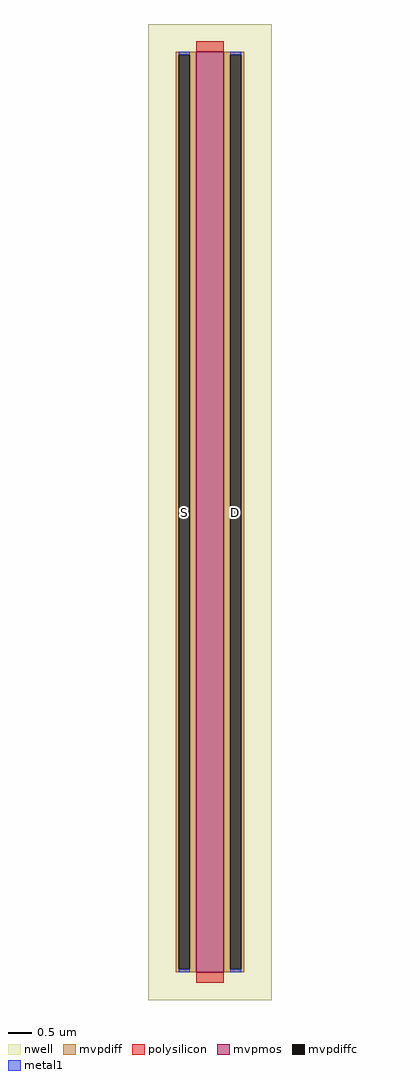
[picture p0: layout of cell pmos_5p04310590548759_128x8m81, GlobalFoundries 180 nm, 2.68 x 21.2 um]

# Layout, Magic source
magic
tech gf180mcuA
magscale 1 10
<< nwell >>
rect -208 -120 328 4120
<< mvpmos >>
rect 0 0 120 4000
<< mvpdiff >>
rect -88 3987 0 4000
rect -88 13 -75 3987
rect -29 13 0 3987
rect -88 0 0 13
rect 120 3987 208 4000
rect 120 13 149 3987
rect 195 13 208 3987
rect 120 0 208 13
<< mvpdiffc >>
rect -75 13 -29 3987
rect 149 13 195 3987
<< polysilicon >>
rect 0 4000 120 4044
rect 0 -44 120 0
<< metal1 >>
rect -75 3987 -29 4000
rect -75 0 -29 13
rect 149 3987 195 4000
rect 149 0 195 13
<< labels >>
flabel metal1 s -52 2000 -52 2000 0 FreeSans 400 0 0 0 S
flabel metal1 s 172 2000 172 2000 0 FreeSans 400 0 0 0 D
<< properties >>
string GDS_END 389300
string GDS_FILE $PDKPATH/libs.ref/gf180mcu_fd_ip_sram/gds/gf180mcu_fd_ip_sram__sram128x8m8wm1.gds
string GDS_START 383220
<< end >>
